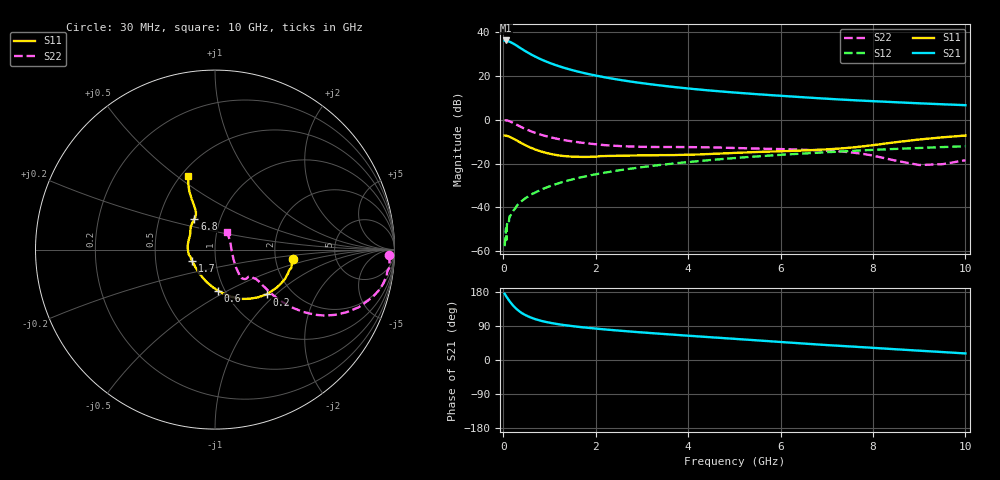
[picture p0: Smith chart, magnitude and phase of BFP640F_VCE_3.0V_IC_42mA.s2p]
! Infineon Technologies  Discrete & RF Semiconductors
! BFP640F
! VCE =  3.0 V,  IC =  42 mA
! Common Emitter S-Parameters:  Apr 2013
# GHz  S  MA  R  50
!  f  S11  S21  S12  S22
! GHz  MAG  ANG  MAG  ANG  MAG  ANG  MAG  ANG
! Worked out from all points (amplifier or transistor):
!   99 points, 30 MHz to 10 GHz, reference 50 ohm
!   highest |S21| = 36.2 dB at 50 MHz (marker M1)
!   |S21| within 3 dB of that: start of sweep to 336.9 MHz
!   unconditionally stable (mu >= 1): 1.561 GHz to end of sweep
!   at 350 MHz: K = 0.57, MSG = 35.6 dB, |S12| = -38.1 dB
!   at 3.5 GHz: K = 1.06, MAG = 16.4 dB, |S12| = -20.4 dB
!   at 10 GHz: K = 1.04, MAG = 8.2 dB, |S12| = -12.1 dB
!   S11 on the Smith chart (normalised r, x): 30 MHz: 2.51, -0.33; 200 MHz: 1.50, -0.88; 600 MHz: 0.93, -0.45; 1.7 GHz: 0.77, -0.10; 6.8 GHz: 0.75, +0.27; 10 GHz: 0.54, +0.55
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0.03  0.4378 -6.9  64.13 174.9  0.0013 90.1  0.9706 -1.7
0.05  0.4357 -11.4  64.79 171.2  0.0022 97.8  0.9759 -4.6
0.08  0.4285 -17.9  64.04 165.4  0.004 88.9  0.9671 -8.8
0.13  0.4101 -28.5  61.1 156.4  0.0056 81.3  0.9323 -14.9
0.15  0.4022 -32.2  59.98 153.2  0.0063 80.7  0.9131 -17.1
0.2  0.3806 -41.0  56.35 145.6  0.008 78.3  0.8637 -21.8
0.25  0.3563 -48.5  52.51 139.0  0.0092 77.5  0.8111 -25.5
0.3  0.3331 -55.4  48.66 133.3  0.0111 74.6  0.7617 -28.5
0.4  0.2911 -67.3  41.64 124.1  0.014 75.6  0.6735 -32.7
0.5  0.2571 -76.9  35.84 117.3  0.0167 75.8  0.6028 -35.2
0.6  0.2296 -85.8  31.21 111.9  0.0196 75.9  0.546 -36.7
0.8  0.1917 -101.5  24.47 104.0  0.0249 74.7  0.4624 -38.0
1  0.1685 -115.3  19.98 98.6  0.0302 74.7  0.4042 -38.0
1.3  0.1491 -133.9  15.57 92.5  0.0384 73.7  0.3461 -37.1
1.7  0.1422 -153.5  12.01 86.6  0.049 72.2  0.2995 -35.8
2.4  0.15 -176.3  8.564 78.6  0.0675 69.0  0.2555 -36.8
3.4  0.1561 161.6  6.081 69.2  0.0932 64.0  0.2387 -40.5
5.1  0.1766 140.7  4.121 55.0  0.1361 54.8  0.2259 -46.0
6.7  0.2037 124.9  3.167 41.8  0.1744 45.5  0.2027 -47.2
6.8  0.2062 123.8  3.118 41.0  0.1767 44.9  0.2011 -47.0
8.5  0.3081 114.8  2.515 28.3  0.2166 35.0  0.1162 -27.6
10  0.4373 109.8  2.154 17.3  0.2488 26.1  0.1192 55.6
